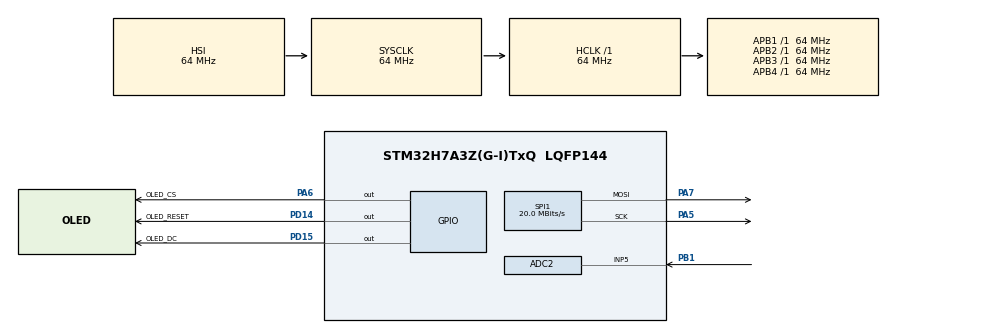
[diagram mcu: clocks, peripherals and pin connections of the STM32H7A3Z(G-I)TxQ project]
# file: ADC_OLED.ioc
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ADC2.Channel-0\#ChannelRegularConversion=ADC_CHANNEL_5
ADC2.ClockPrescaler=ADC_CLOCK_ASYNC_DIV4
ADC2.ContinuousConvMode=ENABLE
ADC2.ConversionDataManagement=ADC_CONVERSIONDATA_DMA_CIRCULAR
ADC2.NbrOfConversionFlag=1
ADC2.OffsetNumber-0\#ChannelRegularConversion=ADC_OFFSET_NONE
ADC2.OffsetSignedSaturation-0\#ChannelRegularConversion=DISABLE
ADC2.Overrun=ADC_OVR_DATA_PRESERVED
ADC2.Rank-0\#ChannelRegularConversion=1
ADC2.SamplingTime-0\#ChannelRegularConversion=ADC_SAMPLETIME_810CYCLES_5
Dma.ADC2.0.Direction=DMA_PERIPH_TO_MEMORY
Dma.ADC2.0.EventEnable=DISABLE
Dma.ADC2.0.FIFOMode=DMA_FIFOMODE_DISABLE
Dma.ADC2.0.Instance=DMA1_Stream0
Dma.ADC2.0.MemDataAlignment=DMA_MDATAALIGN_HALFWORD
Dma.ADC2.0.MemInc=DMA_MINC_ENABLE
Dma.ADC2.0.Mode=DMA_CIRCULAR
Dma.ADC2.0.PeriphDataAlignment=DMA_PDATAALIGN_HALFWORD
Dma.ADC2.0.PeriphInc=DMA_PINC_DISABLE
Dma.ADC2.0.Polarity=HAL_DMAMUX_REQ_GEN_RISING
Dma.ADC2.0.Priority=DMA_PRIORITY_LOW
Dma.ADC2.0.RequestNumber=1
Dma.ADC2.0.SignalID=NONE
Dma.ADC2.0.SyncEnable=DISABLE
Dma.ADC2.0.SyncPolarity=HAL_DMAMUX_SYNC_NO_EVENT
Dma.ADC2.0.SyncRequestNumber=1
Dma.ADC2.0.SyncSignalID=NONE
Dma.Request0=ADC2
Mcu.Family=STM32H7
Mcu.Name=STM32H7A3Z(G-I)TxQ
Mcu.Package=LQFP144
NVIC.DMA1_Stream0_IRQn=true\:0\:0\:false\:false\:true\:false\:true\:true
NVIC.PriorityGroup=NVIC_PRIORITYGROUP_4
PA5.Mode=TX_Only_Simplex_Unidirect_Master
PA5.Signal=SPI1_SCK
PA6.GPIO_Label=OLED_CS
PA6.Signal=GPIO_Output
PA7.Mode=TX_Only_Simplex_Unidirect_Master
PA7.Signal=SPI1_MOSI
PB1.Signal=ADCx_INP5
PD14.GPIO_Label=OLED_RESET
PD14.Signal=GPIO_Output
PD15.GPIO_Label=OLED_DC
PD15.Signal=GPIO_Output
ProjectManager.HeapSize=0x200
ProjectManager.StackSize=0x400
ProjectManager.TargetToolchain=STM32CubeIDE
RCC.ADCFreq_Value=16000000
RCC.APB1Freq_Value=64000000
RCC.APB2Freq_Value=64000000
RCC.APB3Freq_Value=64000000
RCC.APB4Freq_Value=64000000
RCC.CortexFreq_Value=64000000
RCC.DIVM1=4
RCC.DIVM2=4
RCC.DIVN1=10
RCC.DIVN2=8
RCC.DIVP2=8
RCC.HCLKFreq_Value=64000000
RCC.PLL2FRACN=0
RCC.PLL3FRACN=0
RCC.PLLFRACN=0
RCC.SYSCLKFreq_VALUE=64000000
RCC.USBFreq_Value=80000000
SH.ADCx_INP5.0=ADC2_INP5,IN5-Single-Ended
SPI1.BaudRatePrescaler=SPI_BAUDRATEPRESCALER_4
SPI1.CalculateBaudRate=20.0 MBits/s
SPI1.DataSize=SPI_DATASIZE_8BIT
SPI1.Direction=SPI_DIRECTION_2LINES_TXONLY
SPI1.Mode=SPI_MODE_MASTER
SPI1.VirtualType=VM_MASTER
board=custom

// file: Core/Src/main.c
/* USER CODE BEGIN Header */
/**
  ******************************************************************************
  * @file           : main.c
  * @brief          : Main program body
  ******************************************************************************
  * @attention
  *
  * Copyright (c) 2024 STMicroelectronics.
  * All rights reserved.
  *
  * This software is licensed under terms that can be found in the LICENSE file
  * in the root directory of this software component.
  * If no LICENSE file comes with this software, it is provided AS-IS.
  *
  ******************************************************************************
  */
/* USER CODE END Header */
#include "main.h"
#include "adc.h"
#include "dma.h"
#include "spi.h"
#include "gpio.h"

/* USER CODE BEGIN Includes */

#include "ssd1306.h"
#include "ssd1306_tests.h"
#include <stdio.h>

/* USER CODE END Includes */

void SystemClock_Config(void);

/* USER CODE BEGIN 0 */

void RefreshDisplay(uint16_t data) {
	ssd1306_Fill(Black);

	float R2 = (2150 * data) / (0xFFFF - data); // (R1 * valueADC) / (maxADC - valueADC)
	float ratio = R2 / 9820; // ratio between R2 and R2max

	uint8_t stripe_width = ratio * 128;
	ssd1306_FillRectangle(0, 0, stripe_width, 15, White);

	ssd1306_SetCursor(0, 18);
	ssd1306_WriteString("Value:", Font_11x18, White);

	ssd1306_SetCursor(0, 36);
	char message[25];
	sprintf((char*)message, "%d%%", (uint8_t)(ratio * 100));
	ssd1306_WriteString(message, Font_11x18, White);

	ssd1306_UpdateScreen();
}

/* USER CODE END 0 */

int main(void)
{

  /* MCU Configuration--------------------------------------------------------*/

  /* Reset of all peripherals, Initializes the Flash interface and the Systick. */
  HAL_Init();

  /* Configure the system clock */
  SystemClock_Config();

  /* Initialize all configured peripherals */
  MX_GPIO_Init();
  MX_DMA_Init();
  MX_SPI1_Init();
  MX_ADC2_Init();
  /* USER CODE BEGIN 2 */

  ssd1306_Init();
  ssd1306_SetCursor(0, 18);
  ssd1306_WriteString("Welcome", Font_11x18, White);
  ssd1306_UpdateScreen();

  volatile static uint16_t adc_data;
  HAL_ADC_Start_DMA(&hadc2, (uint32_t*)&adc_data, 1);

  /* USER CODE END 2 */

  /* Infinite loop */
  /* USER CODE BEGIN WHILE */
  while (1)
  {
	RefreshDisplay(adc_data);
	HAL_Delay(20);
    /* USER CODE END WHILE */

  }
}

void SystemClock_Config(void)
{
  RCC_OscInitTypeDef RCC_OscInitStruct = {0};
  RCC_ClkInitTypeDef RCC_ClkInitStruct = {0};

  /*AXI clock gating */
  RCC->CKGAENR = 0xFFFFFFFF;

  /** Supply configuration update enable
  */
  HAL_PWREx_ConfigSupply(PWR_DIRECT_SMPS_SUPPLY);

  /** Configure the main internal regulator output voltage
  */
  __HAL_PWR_VOLTAGESCALING_CONFIG(PWR_REGULATOR_VOLTAGE_SCALE3);

  while(!__HAL_PWR_GET_FLAG(PWR_FLAG_VOSRDY)) {}

  /** Initializes the RCC Oscillators according to the specified parameters
  * in the RCC_OscInitTypeDef structure.
  */
  RCC_OscInitStruct.OscillatorType = RCC_OSCILLATORTYPE_HSI;
  RCC_OscInitStruct.HSIState = RCC_HSI_DIV1;
  RCC_OscInitStruct.HSICalibrationValue = 64;
  RCC_OscInitStruct.PLL.PLLState = RCC_PLL_ON;
  RCC_OscInitStruct.PLL.PLLSource = RCC_PLLSOURCE_HSI;
  RCC_OscInitStruct.PLL.PLLM = 4;
  RCC_OscInitStruct.PLL.PLLN = 10;
  RCC_OscInitStruct.PLL.PLLP = 2;
  RCC_OscInitStruct.PLL.PLLQ = 2;
  RCC_OscInitStruct.PLL.PLLR = 2;
  RCC_OscInitStruct.PLL.PLLRGE = RCC_PLL1VCIRANGE_3;
  RCC_OscInitStruct.PLL.PLLVCOSEL = RCC_PLL1VCOWIDE;
  RCC_OscInitStruct.PLL.PLLFRACN = 0;
  if (HAL_RCC_OscConfig(&RCC_OscInitStruct) != HAL_OK)
  {
    Error_Handler();
  }

  /** Initializes the CPU, AHB and APB buses clocks
  */
  RCC_ClkInitStruct.ClockType = RCC_CLOCKTYPE_HCLK|RCC_CLOCKTYPE_SYSCLK
                              |RCC_CLOCKTYPE_PCLK1|RCC_CLOCKTYPE_PCLK2
                              |RCC_CLOCKTYPE_D3PCLK1|RCC_CLOCKTYPE_D1PCLK1;
  RCC_ClkInitStruct.SYSCLKSource = RCC_SYSCLKSOURCE_HSI;
  RCC_ClkInitStruct.SYSCLKDivider = RCC_SYSCLK_DIV1;
  RCC_ClkInitStruct.AHBCLKDivider = RCC_HCLK_DIV1;
  RCC_ClkInitStruct.APB3CLKDivider = RCC_APB3_DIV1;
  RCC_ClkInitStruct.APB1CLKDivider = RCC_APB1_DIV1;
  RCC_ClkInitStruct.APB2CLKDivider = RCC_APB2_DIV1;
  RCC_ClkInitStruct.APB4CLKDivider = RCC_APB4_DIV1;

  if (HAL_RCC_ClockConfig(&RCC_ClkInitStruct, FLASH_LATENCY_2) != HAL_OK)
  {
    Error_Handler();
  }
}

void Error_Handler(void)
{
  __disable_irq();
  while (1)
  {
  }
}
